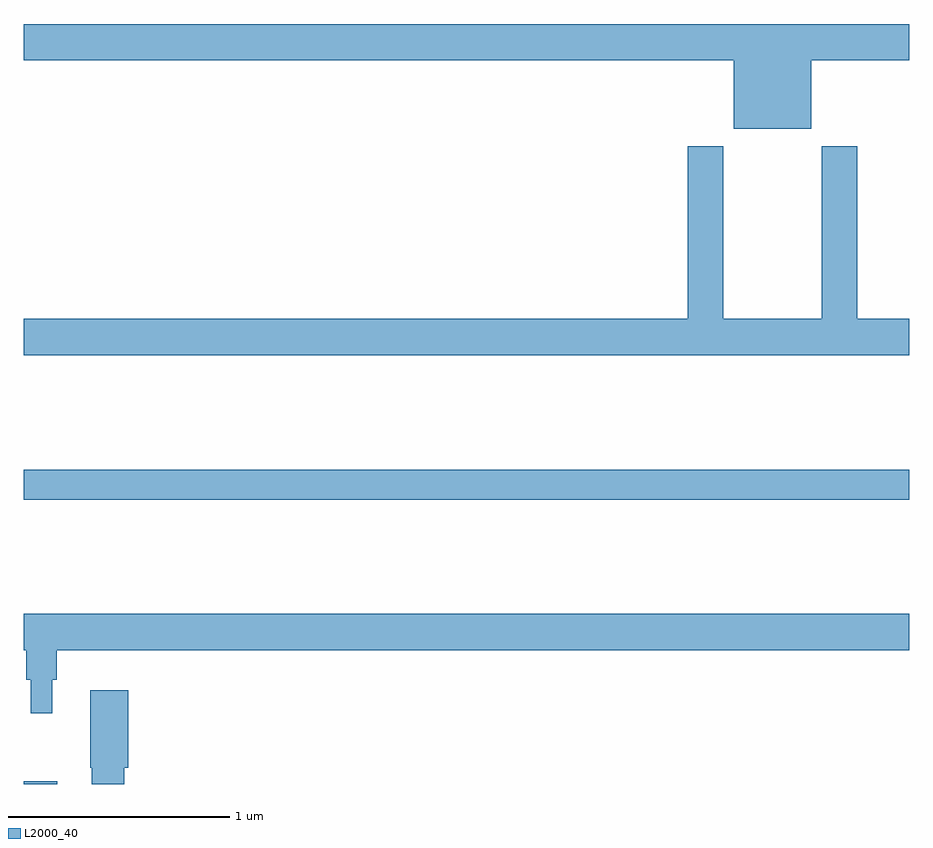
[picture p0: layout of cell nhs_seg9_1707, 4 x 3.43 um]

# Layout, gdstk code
import gdstk
lib = gdstk.Library(unit=1e-6, precision=1e-09)
def R(c, l, rs):  # rectangles x0, y0, x1, y1
    for r in rs: c.add(gdstk.rectangle(r[:2], r[2:], *l))
def P(c, l, *ps):  # polygons
    for p in ps: c.add(gdstk.Polygon(p, *l))
L2000_40 = (2000, 40)

nhs_seg9_1707 = lib.new_cell('nhs_seg9_1707')
R(nhs_seg9_1707, L2000_40, [(207,1178.5,207.151,1178.513), (207,1179.784,211,1179.92)])
P(nhs_seg9_1707, L2000_40, [(210.556,1181.768),(211,1181.768),(211,1181.932),(207,1181.932),(207,1181.768),(210.206,1181.768),(210.206,1181.459),(210.556,1181.459)],
  [(211,1180.6),(210.764,1180.6),(210.764,1181.38),(210.604,1181.38),(210.604,1180.6),(210.159,1180.6),(210.159,1181.38),(209.999,1181.38),(209.999,1180.6),(207,1180.6),(207,1180.436),(211,1180.436)],
  [(207.13,1178.97),(207.149,1178.97),(207.149,1179.104),(211,1179.104),(211,1179.268),(207,1179.268),(207,1179.104),(207.013,1179.104),(207.013,1178.97),(207.032,1178.97),(207.032,1178.82),(207.13,1178.82)],
  [(207.455,1178.574),(207.473,1178.574),(207.473,1178.923),(207.302,1178.923),(207.302,1178.574),(207.308,1178.574),(207.308,1178.5),(207.455,1178.5)])

lib.write_gds('nhs_seg9_1707.gds')
